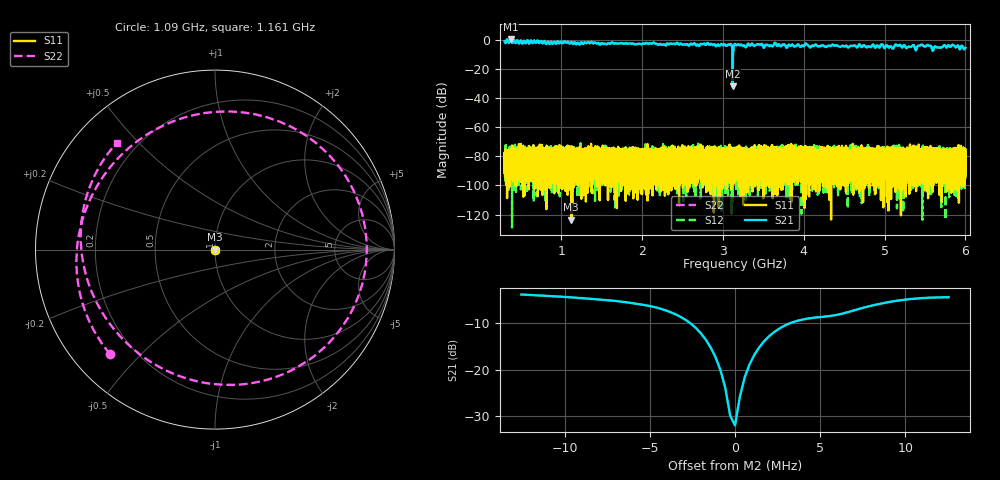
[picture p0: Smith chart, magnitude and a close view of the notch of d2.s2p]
!Agilent Technologies,N5230C,SG49000117,A.08.50.07
!Agilent N5230C: A.08.50.07
!Date: Sunday, March 17, 2024 02:19:11
!Correction: S11(Off)
!S21(Off)
!S12(Off)
!S22(Off)
!S2P File: Measurements: S11, S21, S12, S22:
# Hz S  RI  R 50
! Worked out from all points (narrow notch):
!   20001 points, 300 MHz to 6 GHz, reference 50 ohm
!   highest |S21| = 0.47 dB at 374.4 MHz (marker M1); lowest = -32.0 dB at 3.122 GHz (marker M2)
!   notch at M2: 28.6 dB deep, 2.13 MHz wide at half that depth
!   lowest |S11| = -123.6 dB at 1.125 GHz (marker M3), VSWR 1.00, Z = 50 + j5.29e-05 ohm
!   |S11| at or under -10 dB: start of sweep to end of sweep
!   |S22| runs from -32.1 to 0.5 dB; largest |S21 - S12| = 1.1
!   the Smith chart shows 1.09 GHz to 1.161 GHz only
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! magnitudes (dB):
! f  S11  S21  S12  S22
! 300 MHz  -77.6  -0.9  -81.3  -0.9
! 374.4 MHz  -76.9  0.5  -76.0  0.5
! 1.125 GHz  -123.6  -1.4  -80.9  -1.5
! 1.25 GHz  -81.9  -1.7  -77.3  -1.7
! 2.2 GHz  -85.4  -3.5  -87.2  -3.5
! 3.08 GHz  -82.2  -3.4  -76.8  -3.4
! 3.101 GHz  -94.5  -3.0  -85.0  -3.0
! 3.122 GHz  -81.7  -32.0  -83.8  -32.1
! 3.15 GHz  -94.3  -2.9  -83.1  -2.9
! 3.168 GHz  -81.8  -3.8  -79.3  -3.8
! 3.27 GHz  -89.0  -4.3  -81.2  -4.2
! 3.456 GHz  -81.9  -3.5  -94.6  -3.5
! 3.976 GHz  -81.9  -4.1  -80.2  -4.0
! 4.035 GHz  -76.8  -2.9  -80.8  -2.7
! 4.1 GHz  -79.8  -4.2  -81.0  -4.1
! 5.05 GHz  -83.5  -5.3  -74.6  -5.2
! 5.162 GHz  -78.8  -4.1  -80.9  -4.1
! 5.395 GHz  -86.8  -6.3  -85.6  -6.3
! 5.455 GHz  -79.6  -3.4  -79.2  -3.4
! 5.61 GHz  -79.8  -5.7  -82.1  -5.8
! 5.845 GHz  -76.3  -3.4  -86.1  -3.4
! 6 GHz  -86.0  -5.5  -79.2  -5.6
